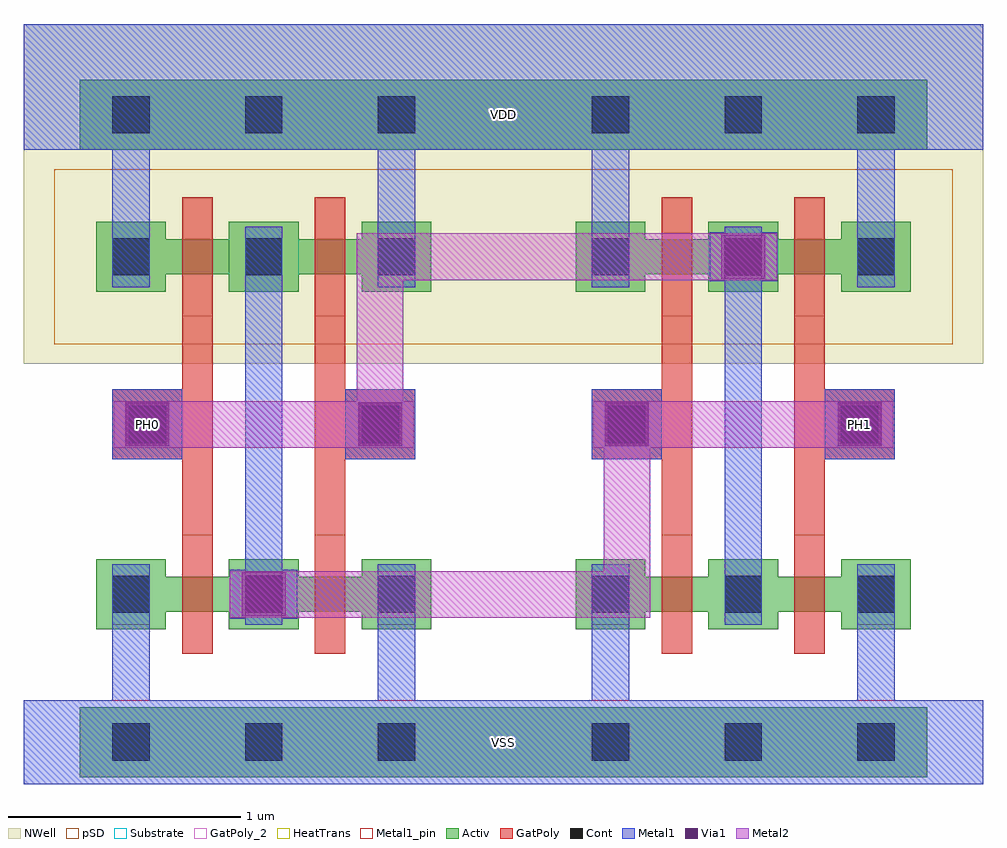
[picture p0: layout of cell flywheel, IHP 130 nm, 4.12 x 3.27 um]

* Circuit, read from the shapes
.subckt flywheel PH0 PH1 VDD VSS
XM1 PH1 PH0 VSS VSS sg13_lv_nmos w=0.15u l=0.13u m=2
XM2 PH0 PH1 VSS VSS sg13_lv_nmos w=0.15u l=0.13u m=2
XM3 PH1 PH0 VDD VDD sg13_lv_pmos w=0.15u l=0.13u m=2
XM4 PH0 PH1 VDD VDD sg13_lv_pmos w=0.15u l=0.13u m=2
.ends

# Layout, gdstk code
from math import pi, radians
import gdstk
lib = gdstk.Library(unit=1e-6, precision=5e-09)
def R(c, l, rs):  # rectangles x0, y0, x1, y1
    for r in rs: c.add(gdstk.rectangle(r[:2], r[2:], *l))
def P(c, l, *ps):  # polygons
    for p in ps: c.add(gdstk.Polygon(p, *l))
Activ = (1, 0)
GatPoly = (5, 0)
GatPoly_2 = (5, 2)
Cont = (6, 0)
Metal1 = (8, 0)
Metal1_pin = (8, 2)
Metal2 = (10, 0)
pSD = (14, 0)
Via1 = (19, 0)
NWell = (31, 0)
Substrate = (40, 0)
HeatTrans = (51, 0)

pmos_1 = lib.new_cell('pmos$1')
R(pmos_1, Activ, [(0,0,0.3,0.3), (0.57,0,0.87,0.3), (0,0.075,0.87,0.225)])
R(pmos_1, GatPoly, [(0.37,-0.105,0.5,0.405), (0.37,-0.105,0.5,0.405)])
R(pmos_1, Cont, [(0.07,0.07,0.23,0.23), (0.64,0.07,0.8,0.23)])
R(pmos_1, Metal1, [(0.07,0.02,0.23,0.28), (0.07,0.02,0.23,0.28), (0.64,0.02,0.8,0.28), (0.64,0.02,0.8,0.28)])
R(pmos_1, pSD, [(-0.18,-0.225,1.05,0.525)])
R(pmos_1, NWell, [(-0.31,-0.31,1.18,0.61)])
R(pmos_1, Substrate, [(0.57,0,0.87,0.3)])
R(pmos_1, HeatTrans, [(0.37,-0.105,0.5,0.405)])
pmos_1.add(gdstk.Label('pmos', (0.435,0.15), layer=63, texttype=0))
pmos_1.add(gdstk.Label('pmos', (0.435,0.15), layer=51, texttype=0))

nmos_1 = lib.new_cell('nmos$1')
R(nmos_1, Activ, [(0,0,0.3,0.3), (0.57,0,0.87,0.3), (0,0.075,0.87,0.225)])
R(nmos_1, GatPoly, [(0.37,-0.105,0.5,0.405)])
R(nmos_1, GatPoly_2, [(0.37,-0.105,0.5,0.405)])
R(nmos_1, Cont, [(0.07,0.07,0.23,0.23), (0.64,0.07,0.8,0.23)])
R(nmos_1, Metal1, [(0.07,0.02,0.23,0.28), (0.64,0.02,0.8,0.28)])
R(nmos_1, Metal1_pin, [(0.07,0.02,0.23,0.28), (0.64,0.02,0.8,0.28)])
R(nmos_1, HeatTrans, [(0.37,-0.105,0.5,0.405)])
nmos_1.add(gdstk.Label('nmos', (0.435,0.15), layer=63, texttype=0))
nmos_1.add(gdstk.Label('nmos', (0.435,0.15), layer=51, texttype=0))

pmos_1_1 = lib.new_cell('pmos$1$1')
R(pmos_1_1, Activ, [(0,0,0.3,0.3), (0.57,0,0.87,0.3), (0,0.075,0.87,0.225)])
R(pmos_1_1, GatPoly, [(0.37,-0.105,0.5,0.405), (0.37,-0.105,0.5,0.405)])
R(pmos_1_1, Cont, [(0.07,0.07,0.23,0.23), (0.64,0.07,0.8,0.23)])
R(pmos_1_1, Metal1, [(0.07,0.02,0.23,0.28), (0.07,0.02,0.23,0.28), (0.64,0.02,0.8,0.28), (0.64,0.02,0.8,0.28)])
R(pmos_1_1, pSD, [(-0.18,-0.225,1.05,0.525)])
R(pmos_1_1, NWell, [(-0.31,-0.31,1.18,0.61)])
R(pmos_1_1, Substrate, [(0.57,0,0.87,0.3)])
R(pmos_1_1, HeatTrans, [(0.37,-0.105,0.5,0.405)])
pmos_1_1.add(gdstk.Label('pmos', (0.435,0.15), layer=63, texttype=0))
pmos_1_1.add(gdstk.Label('pmos', (0.435,0.15), layer=51, texttype=0))

nmos_1_1 = lib.new_cell('nmos$1$1')
R(nmos_1_1, Activ, [(0,0,0.3,0.3), (0.57,0,0.87,0.3), (0,0.075,0.87,0.225)])
R(nmos_1_1, GatPoly, [(0.37,-0.105,0.5,0.405)])
R(nmos_1_1, GatPoly_2, [(0.37,-0.105,0.5,0.405)])
R(nmos_1_1, Cont, [(0.07,0.07,0.23,0.23), (0.64,0.07,0.8,0.23)])
R(nmos_1_1, Metal1, [(0.07,0.02,0.23,0.28), (0.64,0.02,0.8,0.28)])
R(nmos_1_1, Metal1_pin, [(0.07,0.02,0.23,0.28), (0.64,0.02,0.8,0.28)])
R(nmos_1_1, HeatTrans, [(0.37,-0.105,0.5,0.405)])
nmos_1_1.add(gdstk.Label('nmos', (0.435,0.15), layer=63, texttype=0))
nmos_1_1.add(gdstk.Label('nmos', (0.435,0.15), layer=51, texttype=0))

pmos_1_2 = lib.new_cell('pmos$1$2')
R(pmos_1_2, Activ, [(0,0,0.3,0.3), (0.57,0,0.87,0.3), (0,0.075,0.87,0.225)])
R(pmos_1_2, GatPoly, [(0.37,-0.105,0.5,0.405), (0.37,-0.105,0.5,0.405)])
R(pmos_1_2, Cont, [(0.07,0.07,0.23,0.23), (0.64,0.07,0.8,0.23)])
R(pmos_1_2, Metal1, [(0.07,0.02,0.23,0.28), (0.07,0.02,0.23,0.28), (0.64,0.02,0.8,0.28), (0.64,0.02,0.8,0.28)])
R(pmos_1_2, pSD, [(-0.18,-0.225,1.05,0.525)])
R(pmos_1_2, NWell, [(-0.31,-0.31,1.18,0.61)])
R(pmos_1_2, Substrate, [(0.57,0,0.87,0.3)])
R(pmos_1_2, HeatTrans, [(0.37,-0.105,0.5,0.405)])
pmos_1_2.add(gdstk.Label('pmos', (0.435,0.15), layer=63, texttype=0))
pmos_1_2.add(gdstk.Label('pmos', (0.435,0.15), layer=51, texttype=0))

nmos_1_2 = lib.new_cell('nmos$1$2')
R(nmos_1_2, Activ, [(0,0,0.3,0.3), (0.57,0,0.87,0.3), (0,0.075,0.87,0.225)])
R(nmos_1_2, GatPoly, [(0.37,-0.105,0.5,0.405)])
R(nmos_1_2, GatPoly_2, [(0.37,-0.105,0.5,0.405)])
R(nmos_1_2, Cont, [(0.07,0.07,0.23,0.23), (0.64,0.07,0.8,0.23)])
R(nmos_1_2, Metal1, [(0.07,0.02,0.23,0.28), (0.64,0.02,0.8,0.28)])
R(nmos_1_2, Metal1_pin, [(0.07,0.02,0.23,0.28), (0.64,0.02,0.8,0.28)])
R(nmos_1_2, HeatTrans, [(0.37,-0.105,0.5,0.405)])
nmos_1_2.add(gdstk.Label('nmos', (0.435,0.15), layer=63, texttype=0))
nmos_1_2.add(gdstk.Label('nmos', (0.435,0.15), layer=51, texttype=0))

pmos_1_3 = lib.new_cell('pmos$1$3')
R(pmos_1_3, Activ, [(0,0,0.3,0.3), (0.57,0,0.87,0.3), (0,0.075,0.87,0.225)])
R(pmos_1_3, GatPoly, [(0.37,-0.105,0.5,0.405), (0.37,-0.105,0.5,0.405)])
R(pmos_1_3, Cont, [(0.07,0.07,0.23,0.23), (0.64,0.07,0.8,0.23)])
R(pmos_1_3, Metal1, [(0.07,0.02,0.23,0.28), (0.07,0.02,0.23,0.28), (0.64,0.02,0.8,0.28), (0.64,0.02,0.8,0.28)])
R(pmos_1_3, pSD, [(-0.18,-0.225,1.05,0.525)])
R(pmos_1_3, NWell, [(-0.31,-0.31,1.18,0.61)])
R(pmos_1_3, Substrate, [(0.57,0,0.87,0.3)])
R(pmos_1_3, HeatTrans, [(0.37,-0.105,0.5,0.405)])
pmos_1_3.add(gdstk.Label('pmos', (0.435,0.15), layer=63, texttype=0))
pmos_1_3.add(gdstk.Label('pmos', (0.435,0.15), layer=51, texttype=0))

nmos_1_3 = lib.new_cell('nmos$1$3')
R(nmos_1_3, Activ, [(0,0,0.3,0.3), (0.57,0,0.87,0.3), (0,0.075,0.87,0.225)])
R(nmos_1_3, GatPoly, [(0.37,-0.105,0.5,0.405)])
R(nmos_1_3, GatPoly_2, [(0.37,-0.105,0.5,0.405)])
R(nmos_1_3, Cont, [(0.07,0.07,0.23,0.23), (0.64,0.07,0.8,0.23)])
R(nmos_1_3, Metal1, [(0.07,0.02,0.23,0.28), (0.64,0.02,0.8,0.28)])
R(nmos_1_3, Metal1_pin, [(0.07,0.02,0.23,0.28), (0.64,0.02,0.8,0.28)])
R(nmos_1_3, HeatTrans, [(0.37,-0.105,0.5,0.405)])
nmos_1_3.add(gdstk.Label('nmos', (0.435,0.15), layer=63, texttype=0))
nmos_1_3.add(gdstk.Label('nmos', (0.435,0.15), layer=51, texttype=0))

pmos_1_4 = lib.new_cell('pmos$1$4')
R(pmos_1_4, Activ, [(0,0,0.3,0.3), (0.57,0,0.87,0.3), (0,0.075,0.87,0.225)])
R(pmos_1_4, GatPoly, [(0.37,-0.105,0.5,0.405), (0.37,-0.105,0.5,0.405)])
R(pmos_1_4, Cont, [(0.07,0.07,0.23,0.23), (0.64,0.07,0.8,0.23)])
R(pmos_1_4, Metal1, [(0.07,0.02,0.23,0.28), (0.07,0.02,0.23,0.28), (0.64,0.02,0.8,0.28), (0.64,0.02,0.8,0.28)])
R(pmos_1_4, pSD, [(-0.18,-0.225,1.05,0.525)])
R(pmos_1_4, NWell, [(-0.31,-0.31,1.18,0.61)])
R(pmos_1_4, Substrate, [(0.57,0,0.87,0.3)])
R(pmos_1_4, HeatTrans, [(0.37,-0.105,0.5,0.405)])
pmos_1_4.add(gdstk.Label('pmos', (0.435,0.15), layer=63, texttype=0))
pmos_1_4.add(gdstk.Label('pmos', (0.435,0.15), layer=51, texttype=0))

nmos_1_4 = lib.new_cell('nmos$1$4')
R(nmos_1_4, Activ, [(0,0,0.3,0.3), (0.57,0,0.87,0.3), (0,0.075,0.87,0.225)])
R(nmos_1_4, GatPoly, [(0.37,-0.105,0.5,0.405)])
R(nmos_1_4, GatPoly_2, [(0.37,-0.105,0.5,0.405)])
R(nmos_1_4, Cont, [(0.07,0.07,0.23,0.23), (0.64,0.07,0.8,0.23)])
R(nmos_1_4, Metal1, [(0.07,0.02,0.23,0.28), (0.64,0.02,0.8,0.28)])
R(nmos_1_4, Metal1_pin, [(0.07,0.02,0.23,0.28), (0.64,0.02,0.8,0.28)])
R(nmos_1_4, HeatTrans, [(0.37,-0.105,0.5,0.405)])
nmos_1_4.add(gdstk.Label('nmos', (0.435,0.15), layer=63, texttype=0))
nmos_1_4.add(gdstk.Label('nmos', (0.435,0.15), layer=51, texttype=0))

inv = lib.new_cell('inv')
R(inv, Activ, [(0.48,-0.04,1.49,0.26), (0.48,-0.04,1.49,0.26), (0.48,-0.04,1.49,0.26), (0.48,-0.04,1.49,0.26), (0.48,-0.04,1.49,0.26), (0.48,2.655,1.49,2.955), (0.48,2.655,1.49,2.955), (0.48,2.655,1.49,2.955), (0.48,2.655,1.49,2.955), (0.48,2.655,1.49,2.955)])
R(inv, GatPoly, [(0.92,0.76,1.05,2.45), (0.92,0.76,1.05,2.45), (0.92,0.76,1.05,2.45), (0.92,0.76,1.05,2.45), (0.92,0.76,1.05,2.45), (0.62,1.325,0.92,1.625), (0.62,1.325,0.92,1.625), (0.62,1.325,0.92,1.625), (0.62,1.325,0.92,1.625), (0.62,1.325,0.92,1.625)])
R(inv, Cont, [(0.62,0.03,0.78,0.19), (0.62,0.03,0.78,0.19), (0.62,0.03,0.78,0.19), (0.62,0.03,0.78,0.19), (0.62,0.03,0.78,0.19), (1.19,0.03,1.35,0.19), (1.19,0.03,1.35,0.19), (1.19,0.03,1.35,0.19), (1.19,0.03,1.35,0.19), (1.19,0.03,1.35,0.19), (0.69,1.395,0.85,1.555), (0.69,1.395,0.85,1.555), (0.69,1.395,0.85,1.555), (0.69,1.395,0.85,1.555), (0.69,1.395,0.85,1.555), (0.62,2.725,0.78,2.885), (0.62,2.725,0.78,2.885), (0.62,2.725,0.78,2.885), (0.62,2.725,0.78,2.885), (0.62,2.725,0.78,2.885), (1.19,2.725,1.35,2.885), (1.19,2.725,1.35,2.885), (1.19,2.725,1.35,2.885), (1.19,2.725,1.35,2.885), (1.19,2.725,1.35,2.885)])
R(inv, Metal1, [(0.24,-0.07,1.73,0.29), (0.24,-0.07,1.73,0.29), (0.24,-0.07,1.73,0.29), (0.24,-0.07,1.73,0.29), (0.24,-0.07,1.73,0.29), (0.62,-0.04,0.78,0.875), (0.62,-0.04,0.78,0.875), (0.62,-0.04,0.78,0.875), (0.62,-0.04,0.78,0.875), (0.62,-0.04,0.78,0.875), (1.19,0.615,1.35,2.325), (1.19,0.615,1.35,2.325), (1.19,0.615,1.35,2.325), (1.19,0.615,1.35,2.325), (1.19,0.615,1.35,2.325), (0.62,1.325,0.92,1.625), (0.62,1.325,0.92,1.625), (0.62,1.325,0.92,1.625), (0.62,1.325,0.92,1.625), (0.62,1.325,0.92,1.625), (0.62,2.065,0.78,2.955), (0.62,2.065,0.78,2.955), (0.62,2.065,0.78,2.955), (0.62,2.065,0.78,2.955), (0.62,2.065,0.78,2.955), (0.24,2.655,1.73,3.195), (0.24,2.655,1.73,3.195), (0.24,2.655,1.73,3.195), (0.24,2.655,1.73,3.195), (0.24,2.655,1.73,3.195)])
R(inv, Metal1_pin, [(0.24,-0.07,1.73,0.29), (0.24,-0.07,1.73,0.29), (0.24,-0.07,1.73,0.29), (0.24,-0.07,1.73,0.29), (0.24,-0.07,1.73,0.29), (1.19,0.615,1.35,2.325), (1.19,0.615,1.35,2.325), (1.19,0.615,1.35,2.325), (1.19,0.615,1.35,2.325), (1.19,0.615,1.35,2.325), (0.62,1.325,0.92,1.625), (0.62,1.325,0.92,1.625), (0.62,1.325,0.92,1.625), (0.62,1.325,0.92,1.625), (0.62,1.325,0.92,1.625), (0.24,2.655,1.73,3.195), (0.24,2.655,1.73,3.195), (0.24,2.655,1.73,3.195), (0.24,2.655,1.73,3.195), (0.24,2.655,1.73,3.195)])
R(inv, pSD, [(0.24,-0.07,1.73,0.29), (0.24,-0.07,1.73,0.29), (0.24,-0.07,1.73,0.29), (0.24,-0.07,1.73,0.29), (0.24,-0.07,1.73,0.29)])
R(inv, NWell, [(0.24,2.655,1.73,3.195), (0.24,2.655,1.73,3.195), (0.24,2.655,1.73,3.195), (0.24,2.655,1.73,3.195), (0.24,2.655,1.73,3.195)])
inv.add(gdstk.Reference(pmos_1, (0.55,2.045)))
inv.add(gdstk.Reference(nmos_1, (0.55,0.595)))
inv.add(gdstk.Reference(pmos_1_1, (0.55,2.045)))
inv.add(gdstk.Reference(nmos_1_1, (0.55,0.595)))
inv.add(gdstk.Reference(pmos_1_2, (0.55,2.045)))
inv.add(gdstk.Reference(nmos_1_2, (0.55,0.595)))
inv.add(gdstk.Reference(pmos_1_3, (0.55,2.045)))
inv.add(gdstk.Reference(nmos_1_3, (0.55,0.595)))
inv.add(gdstk.Reference(pmos_1_4, (0.55,2.045)))
inv.add(gdstk.Reference(nmos_1_4, (0.55,0.595)))
inv.add(gdstk.Label('VSS', (0.64,0.09), layer=8, texttype=25))
inv.add(gdstk.Label('VDD', (0.675,2.805), layer=8, texttype=25))
inv.add(gdstk.Label('VIN', (0.73,1.475), layer=8, texttype=25))
inv.add(gdstk.Label('VOUT', (1.2,1.665), layer=8, texttype=25))
inv.add(gdstk.Label('VSS', (0.64,0.09), layer=8, texttype=25))
inv.add(gdstk.Label('VDD', (0.675,2.805), layer=8, texttype=25))
inv.add(gdstk.Label('VIN', (0.73,1.475), layer=8, texttype=25))
inv.add(gdstk.Label('VOUT', (1.2,1.665), layer=8, texttype=25))
inv.add(gdstk.Label('VSS', (0.64,0.09), layer=8, texttype=25))
inv.add(gdstk.Label('VDD', (0.675,2.805), layer=8, texttype=25))
inv.add(gdstk.Label('VIN', (0.73,1.475), layer=8, texttype=25))
inv.add(gdstk.Label('VOUT', (1.2,1.665), layer=8, texttype=25))
inv.add(gdstk.Label('VSS', (0.64,0.09), layer=8, texttype=25))
inv.add(gdstk.Label('VDD', (0.675,2.805), layer=8, texttype=25))
inv.add(gdstk.Label('VIN', (0.73,1.475), layer=8, texttype=25))
inv.add(gdstk.Label('VOUT', (1.2,1.665), layer=8, texttype=25))
inv.add(gdstk.Label('VSS', (0.64,0.09), layer=8, texttype=25))
inv.add(gdstk.Label('VDD', (0.675,2.805), layer=8, texttype=25))
inv.add(gdstk.Label('VIN', (0.73,1.475), layer=8, texttype=25))
inv.add(gdstk.Label('VOUT', (1.2,1.665), layer=8, texttype=25))

inv_d2 = lib.new_cell('inv_d2')
R(inv_d2, Metal1, [(0.625,1.705,0.915,1.915), (1.625,1.705,1.915,1.915)])
R(inv_d2, Metal1_pin, [(1.19,0.95,1.35,2.66), (0.24,2.99,2.3,3.53)])
R(inv_d2, Metal2, [(0.625,1.71,0.915,1.91), (0.625,1.71,1.915,1.91), (1.625,1.71,1.915,1.91)])
R(inv_d2, Via1, [(0.675,1.715,0.865,1.905), (1.675,1.715,1.865,1.905)])
inv_d2.add(gdstk.Reference(inv, (0,0.335)))
inv_d2.add(gdstk.Reference(inv, (2.54,0.335), rotation=pi, x_reflection=True))
inv_d2.add(gdstk.Label('VDD', (1.27,3.14), layer=8, texttype=25))
inv_d2.add(gdstk.Label('VOUT', (1.26,1.49), layer=8, texttype=25))
inv_d2.add(gdstk.Label('VIN', (0.74,1.8), layer=8, texttype=25))
inv_d2.add(gdstk.Label('VSS', (1.27,0.445), layer=8, texttype=25))

flywheel = lib.new_cell('flywheel')
R(flywheel, Activ, [(2.06,0.295,2.54,0.595), (2.06,2.99,2.54,3.29)])
R(flywheel, Metal1, [(1.125,0.975,1.415,1.185), (3.185,2.425,3.475,2.635)])
R(flywheel, Metal1_pin, [(0.24,0.265,4.36,0.625), (0.62,1.66,0.92,1.96), (3.68,1.66,3.98,1.96), (0.24,2.99,4.36,3.53)])
R(flywheel, Metal2, [(1.125,0.98,1.415,1.18), (2.73,1.18,2.93,1.71), (1.67,1.91,1.87,2.43), (3.185,2.43,3.475,2.63)])
P(flywheel, Metal2, [(1.415,0.98),(1.415,1.18),(2.93,1.18),(2.93,1.09),(2.93,0.98)],
  [(1.67,2.43),(1.67,2.63),(3.185,2.63),(3.185,2.54),(3.185,2.43)])
R(flywheel, pSD, [(2.17,2.155,2.43,2.905)])
R(flywheel, Via1, [(1.175,0.985,1.365,1.175), (3.235,2.435,3.425,2.625)])
flywheel.add(gdstk.Reference(inv_d2, (2.06,0)))
flywheel.add(gdstk.Reference(inv_d2, (0,0)))
flywheel.add(gdstk.Label('VDD', (2.3,3.14), layer=8, texttype=25))
flywheel.add(gdstk.Label('VSS', (2.3,0.445), layer=8, texttype=25))
flywheel.add(gdstk.Label('PH0', (0.77,1.81), layer=8, texttype=25))
flywheel.add(gdstk.Label('PH1', (3.83,1.81), layer=8, texttype=25))

lib.write_gds('flywheel.gds')
